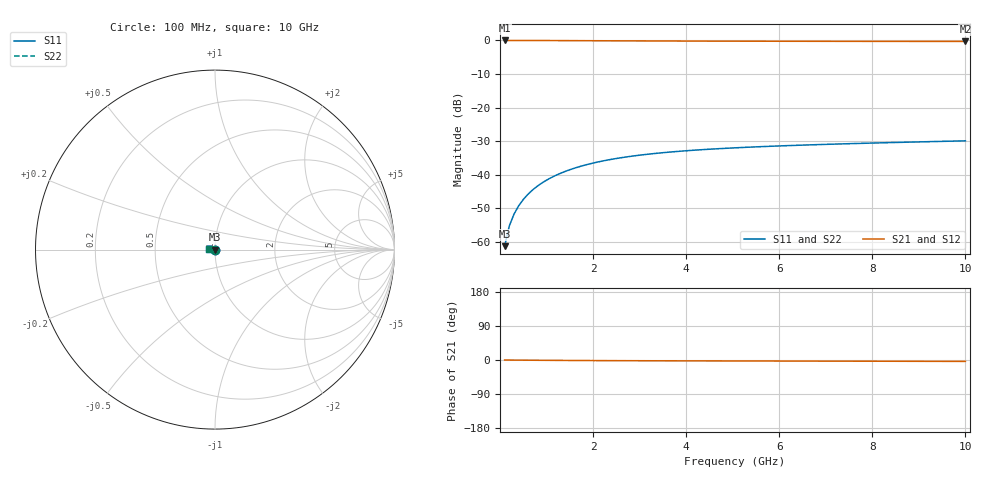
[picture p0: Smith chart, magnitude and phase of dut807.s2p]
! Touchstone file exported from HFSS 2024.1.0
!  File:  C:/UserFiles/LocalFiles/RDL_TSV_Batchsim/temp_TSV1_807_1779877010.aedt
!  Generated:  06:21:41 PM May 27, 2026
!  Design:  TSV1
!  Project:  temp_TSV1_807_1779877010
!  Setup:  Setup1
!  Solution:  Sweep
! Variables:
!  dtsv = 10.76um
!  hbump = 3um
!  htsv = 53.53um
!  lrdl = 252.1521522um
!  p = 40
!  p1 = 54.78um
!  t = 500um
!  trdl = 3um
!  wrdl = 24.89489489um
# GHz S MA R 50.000000
! Terminal data exported
! Port[1] = TSV22_T1
! Port[2] = TSV22_T2
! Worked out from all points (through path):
!   100 points, 100 MHz to 10 GHz, reference 50 ohm
!   highest |S21| = 0.00 dB at 100 MHz (marker M1); lowest = -0.3 dB at 10 GHz (marker M2)
!   lowest |S11| = -61.3 dB at 100 MHz (marker M3), VSWR 1.00, Z = 50 - j0.0857 ohm
!   |S11| at or under -10 dB: start of sweep to end of sweep
!   |S22| runs from -61.3 to -29.9 dB; largest |S21 - S12| = 2.6e-15
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0.1  0.0008594 -85.4  0.9999 -0.1  0.9999 -0.1  0.0008594 -85.4
! Gamma 0 0 0 0
! Port Impedance 50 0 50 0
0.2  0.001712 -90.5  0.9998 -0.2  0.9998 -0.2  0.001712 -90.5
0.3  0.002566 -93.6  0.9996 -0.3  0.9996 -0.3  0.002566 -93.6
0.4  0.003415 -96.1  0.9994 -0.4  0.9994 -0.4  0.003415 -96.1
0.5  0.004257 -98.5  0.9991 -0.4  0.9991 -0.4  0.004258 -98.5
0.6  0.005089 -100.7  0.9988 -0.5  0.9988 -0.5  0.005089 -100.7
0.7  0.005908 -102.9  0.9984 -0.6  0.9984 -0.6  0.005908 -102.9
0.8  0.006712 -105.0  0.998 -0.7  0.998 -0.7  0.006712 -105.0
0.9  0.007501 -107.0  0.9975 -0.8  0.9975 -0.8  0.007501 -107.0
1.1  0.009024 -110.9  0.9964 -0.9  0.9964 -0.9  0.009024 -110.9
1.4  0.01116 -116.5  0.9947 -1.1  0.9947 -1.1  0.01116 -116.5
1.6  0.01248 -120.1  0.9934 -1.3  0.9934 -1.3  0.01248 -120.1
1.8  0.01372 -123.4  0.9921 -1.4  0.9921 -1.4  0.01372 -123.4
2.1  0.01542 -128.2  0.9901 -1.6  0.9901 -1.6  0.01542 -128.2
2.5  0.01741 -134.1  0.9875 -1.7  0.9875 -1.7  0.01741 -134.1
2.9  0.01911 -139.5  0.9851 -1.9  0.9851 -1.9  0.01912 -139.5
3.4  0.02092 -145.5  0.9823 -2.1  0.9823 -2.1  0.02092 -145.5
4.2  0.02321 -153.9  0.9786 -2.3  0.9786 -2.3  0.02321 -153.9
5.1  0.0252 -161.8  0.9754 -2.5  0.9754 -2.5  0.0252 -161.8
6.7  0.02785 -173.3  0.9714 -2.9  0.9714 -2.9  0.02785 -173.3
8.4  0.03006 177.0  0.9687 -3.3  0.9687 -3.3  0.03006 177.0
10  0.03191 169.3  0.9669 -3.7  0.9669 -3.7  0.03191 169.3
